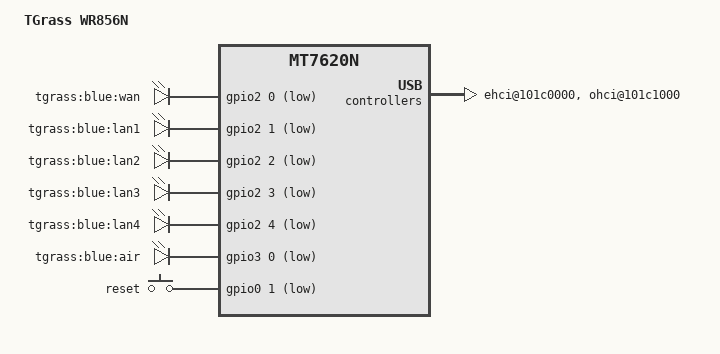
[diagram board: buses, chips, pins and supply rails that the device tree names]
/include/ "mt7620n.dtsi"

/ {
	compatible = "wr856n", "ralink,mt7620n-soc";
	model = "TGrass WR856N";

	palmbus@10000000 {
		gpio2: gpio@660 {
			status = "okay";
		};

		gpio3: gpio@688 {
			status = "okay";
		};
	};

	ehci@101c0000 {
		status = "okay";
	};

	ohci@101c1000 {
		status = "okay";
	};

	ethernet@10100000 {
		mtd-mac-address = <&factory 0x4>;
		ralink,port-map = "wllll";
	};

	wmac@10180000 {
		ralink,mtd-eeprom = <&factory 0>;
	};

	pinctrl {
		state_default: pinctrl0 {
			default {
				ralink,group = "ephy", "wled", "pa", "i2c", "wdt", "uartf";
				ralink,function = "gpio";
			};
		};
	};
        gpio-leds {
                compatible = "gpio-leds";
                wan {
                        label = "tgrass:blue:wan";
                        gpios = <&gpio2 0 1>;
                };
                lan1 {
                        label = "tgrass:blue:lan1";
                        gpios = <&gpio2 1 1>;
                };
                lan2 {
                        label = "tgrass:blue:lan2";
                        gpios = <&gpio2 2 1>;
                };
                lan3 {
                        label = "tgrass:blue:lan3";
                        gpios = <&gpio2 3 1>;
                };
                lan4 {
                        label = "tgrass:blue:lan4";
                        gpios = <&gpio2 4 1>;
                };
                air {
                        label = "tgrass:blue:air";
                        gpios = <&gpio3 0 1>;
                };
        };

        gpio-keys-polled {
                compatible = "gpio-keys-polled";
                #address-cells = <1>;
                #size-cells = <0>;
                poll-interval = <20>;
                reset {
                        label = "reset";
                        gpios = <&gpio0 1 1>;
                        linux,code = <0x198>;
                };
        };
};
